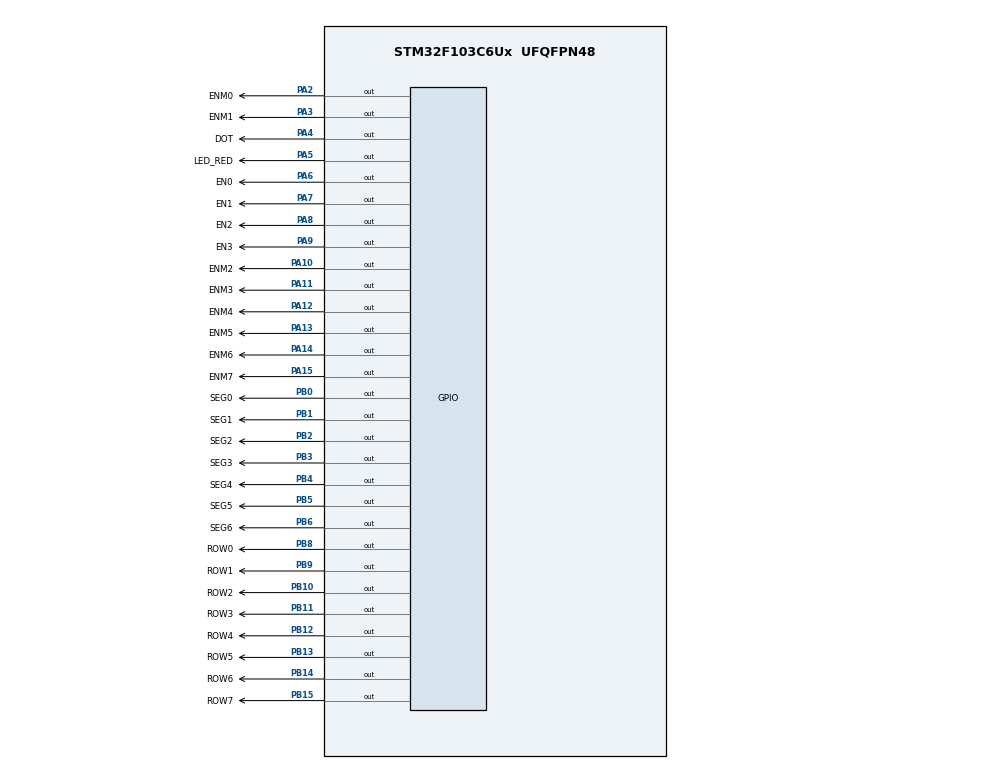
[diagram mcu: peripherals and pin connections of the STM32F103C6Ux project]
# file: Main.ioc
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Mcu.Family=STM32F1
Mcu.Name=STM32F103C6Ux
Mcu.Package=UFQFPN48
NVIC.PriorityGroup=NVIC_PRIORITYGROUP_4
NVIC.TIM2_IRQn=true\:0\:0\:false\:false\:true\:true\:true
PA10.GPIO_Label=ENM2
PA10.Signal=GPIO_Output
PA11.GPIO_Label=ENM3
PA11.Signal=GPIO_Output
PA12.GPIO_Label=ENM4
PA12.Signal=GPIO_Output
PA13.GPIO_Label=ENM5
PA13.Signal=GPIO_Output
PA14.GPIO_Label=ENM6
PA14.Signal=GPIO_Output
PA15.GPIO_Label=ENM7
PA15.Signal=GPIO_Output
PA2.GPIO_Label=ENM0
PA2.Signal=GPIO_Output
PA3.GPIO_Label=ENM1
PA3.Signal=GPIO_Output
PA4.GPIO_Label=DOT
PA4.Signal=GPIO_Output
PA5.GPIO_Label=LED_RED
PA5.Signal=GPIO_Output
PA6.GPIO_Label=EN0
PA6.Signal=GPIO_Output
PA7.GPIO_Label=EN1
PA7.Signal=GPIO_Output
PA8.GPIO_Label=EN2
PA8.Signal=GPIO_Output
PA9.GPIO_Label=EN3
PA9.Signal=GPIO_Output
PB0.GPIO_Label=SEG0
PB0.Signal=GPIO_Output
PB1.GPIO_Label=SEG1
PB1.Signal=GPIO_Output
PB10.GPIO_Label=ROW2
PB10.Signal=GPIO_Output
PB11.GPIO_Label=ROW3
PB11.Signal=GPIO_Output
PB12.GPIO_Label=ROW4
PB12.Signal=GPIO_Output
PB13.GPIO_Label=ROW5
PB13.Signal=GPIO_Output
PB14.GPIO_Label=ROW6
PB14.Signal=GPIO_Output
PB15.GPIO_Label=ROW7
PB15.Signal=GPIO_Output
PB2.GPIO_Label=SEG2
PB2.Signal=GPIO_Output
PB3.GPIO_Label=SEG3
PB3.Signal=GPIO_Output
PB4.GPIO_Label=SEG4
PB4.Signal=GPIO_Output
PB5.GPIO_Label=SEG5
PB5.Signal=GPIO_Output
PB6.GPIO_Label=SEG6
PB6.Signal=GPIO_Output
PB8.GPIO_Label=ROW0
PB8.Signal=GPIO_Output
PB9.GPIO_Label=ROW1
PB9.Signal=GPIO_Output
ProjectManager.HeapSize=0x200
ProjectManager.StackSize=0x400
ProjectManager.TargetToolchain=STM32CubeIDE
RCC.APB1Freq_Value=8000000
RCC.APB2Freq_Value=8000000
TIM2.Period=9
TIM2.Prescaler=7999
VP_SYS_VS_ND.Mode=No_Debug
VP_TIM2_VS_ClockSourceINT.Mode=Internal
board=custom

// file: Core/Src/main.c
/* USER CODE BEGIN Header */
/**
  ******************************************************************************
  * @file           : main.c
  * @brief          : Main program body
  ******************************************************************************
  * @attention
  *
  * <h2><center>&copy; Copyright (c) 2023 STMicroelectronics.
  * All rights reserved.</center></h2>
  *
  * This software component is licensed by ST under BSD 3-Clause license,
  * the "License"; You may not use this file except in compliance with the
  * License. You may obtain a copy of the License at:
  *                        opensource.org/licenses/BSD-3-Clause
  *
  ******************************************************************************
  */
/* USER CODE END Header */
#include "main.h"

/* USER CODE BEGIN Includes */
#include "software_timer.h"
#include "update_led.h"
/* USER CODE END Includes */

TIM_HandleTypeDef htim2;

void SystemClock_Config(void);
static void MX_TIM2_Init(void);
static void MX_GPIO_Init(void);

int main(void)
{

  /* MCU Configuration--------------------------------------------------------*/

  /* Reset of all peripherals, Initializes the Flash interface and the Systick. */
  HAL_Init();

  /* Configure the system clock */
  SystemClock_Config();

  /* Initialize all configured peripherals */
  MX_TIM2_Init();
  MX_GPIO_Init();
  /* USER CODE BEGIN 2 */
  HAL_TIM_Base_Start_IT(&htim2);
  /* USER CODE END 2 */

  /* Infinite loop */
  while (1)
  {

  }
}

void SystemClock_Config(void)
{
  RCC_OscInitTypeDef RCC_OscInitStruct = {0};
  RCC_ClkInitTypeDef RCC_ClkInitStruct = {0};

  /** Initializes the RCC Oscillators according to the specified parameters
  * in the RCC_OscInitTypeDef structure.
  */
  RCC_OscInitStruct.OscillatorType = RCC_OSCILLATORTYPE_HSI;
  RCC_OscInitStruct.HSIState = RCC_HSI_ON;
  RCC_OscInitStruct.HSICalibrationValue = RCC_HSICALIBRATION_DEFAULT;
  RCC_OscInitStruct.PLL.PLLState = RCC_PLL_NONE;
  if (HAL_RCC_OscConfig(&RCC_OscInitStruct) != HAL_OK)
  {
    Error_Handler();
  }
  /** Initializes the CPU, AHB and APB buses clocks
  */
  RCC_ClkInitStruct.ClockType = RCC_CLOCKTYPE_HCLK|RCC_CLOCKTYPE_SYSCLK
                              |RCC_CLOCKTYPE_PCLK1|RCC_CLOCKTYPE_PCLK2;
  RCC_ClkInitStruct.SYSCLKSource = RCC_SYSCLKSOURCE_HSI;
  RCC_ClkInitStruct.AHBCLKDivider = RCC_SYSCLK_DIV1;
  RCC_ClkInitStruct.APB1CLKDivider = RCC_HCLK_DIV1;
  RCC_ClkInitStruct.APB2CLKDivider = RCC_HCLK_DIV1;

  if (HAL_RCC_ClockConfig(&RCC_ClkInitStruct, FLASH_LATENCY_0) != HAL_OK)
  {
    Error_Handler();
  }
}

static void MX_TIM2_Init(void)
{

  TIM_ClockConfigTypeDef sClockSourceConfig = {0};
  TIM_MasterConfigTypeDef sMasterConfig = {0};

  htim2.Instance = TIM2;
  htim2.Init.Prescaler = 7999;
  htim2.Init.CounterMode = TIM_COUNTERMODE_UP;
  htim2.Init.Period = 9;
  htim2.Init.ClockDivision = TIM_CLOCKDIVISION_DIV1;
  htim2.Init.AutoReloadPreload = TIM_AUTORELOAD_PRELOAD_DISABLE;
  if (HAL_TIM_Base_Init(&htim2) != HAL_OK)
  {
    Error_Handler();
  }
  sClockSourceConfig.ClockSource = TIM_CLOCKSOURCE_INTERNAL;
  if (HAL_TIM_ConfigClockSource(&htim2, &sClockSourceConfig) != HAL_OK)
  {
    Error_Handler();
  }
  sMasterConfig.MasterOutputTrigger = TIM_TRGO_RESET;
  sMasterConfig.MasterSlaveMode = TIM_MASTERSLAVEMODE_DISABLE;
  if (HAL_TIMEx_MasterConfigSynchronization(&htim2, &sMasterConfig) != HAL_OK)
  {
    Error_Handler();
  }

}

static void MX_GPIO_Init(void)
{
  GPIO_InitTypeDef GPIO_InitStruct = {0};

  /* GPIO Ports Clock Enable */
  __HAL_RCC_GPIOA_CLK_ENABLE();
  __HAL_RCC_GPIOB_CLK_ENABLE();

  /*Configure GPIO pin Output Level */
  HAL_GPIO_WritePin(GPIOA, LED_RED_Pin|EN0_Pin|EN1_Pin, GPIO_PIN_RESET);

  /*Configure GPIO pin Output Level */
  HAL_GPIO_WritePin(GPIOB, SEG0_Pin|SEG1_Pin|SEG2_Pin|SEG3_Pin
                          |SEG4_Pin|SEG5_Pin|SEG6_Pin, GPIO_PIN_RESET);

  /*Configure GPIO pins : LED_RED_Pin EN0_Pin EN1_Pin */
  GPIO_InitStruct.Pin = LED_RED_Pin|EN0_Pin|EN1_Pin;
  GPIO_InitStruct.Mode = GPIO_MODE_OUTPUT_PP;
  GPIO_InitStruct.Pull = GPIO_NOPULL;
  GPIO_InitStruct.Speed = GPIO_SPEED_FREQ_LOW;
  HAL_GPIO_Init(GPIOA, &GPIO_InitStruct);

  /*Configure GPIO pins : SEG0_Pin SEG1_Pin SEG2_Pin SEG3_Pin
                           SEG4_Pin SEG5_Pin SEG6_Pin */
  GPIO_InitStruct.Pin = SEG0_Pin|SEG1_Pin|SEG2_Pin|SEG3_Pin
                          |SEG4_Pin|SEG5_Pin|SEG6_Pin;
  GPIO_InitStruct.Mode = GPIO_MODE_OUTPUT_PP;
  GPIO_InitStruct.Pull = GPIO_NOPULL;
  GPIO_InitStruct.Speed = GPIO_SPEED_FREQ_LOW;
  HAL_GPIO_Init(GPIOB, &GPIO_InitStruct);

}

/* USER CODE BEGIN 4 */
int status = 1;
int counter = 50;
void HAL_TIM_PeriodElapsedCallback(TIM_HandleTypeDef *htim){
	if (counter > 0) {
		counter--;
	}
	if (counter <= 0) {
		counter = 50;
		display7SEG (status);
		HAL_GPIO_TogglePin(LED_RED_GPIO_Port, LED_RED_Pin);
		switch (status) {
		case 1:
			HAL_GPIO_WritePin(EN0_GPIO_Port, EN0_Pin, RESET);
			HAL_GPIO_WritePin(EN1_GPIO_Port, EN1_Pin, SET);
			status = 2;
			break;
		case 2:
			HAL_GPIO_WritePin(EN0_GPIO_Port, EN0_Pin, SET);
			HAL_GPIO_WritePin(EN1_GPIO_Port, EN1_Pin, RESET);
			status = 1;
			break;
		}
	}
}
/* USER CODE END 4 */

void Error_Handler(void)
{
  __disable_irq();
  while (1)
  {
  }
}

/************************ (C) COPYRIGHT STMicroelectronics *****END OF FILE****/
